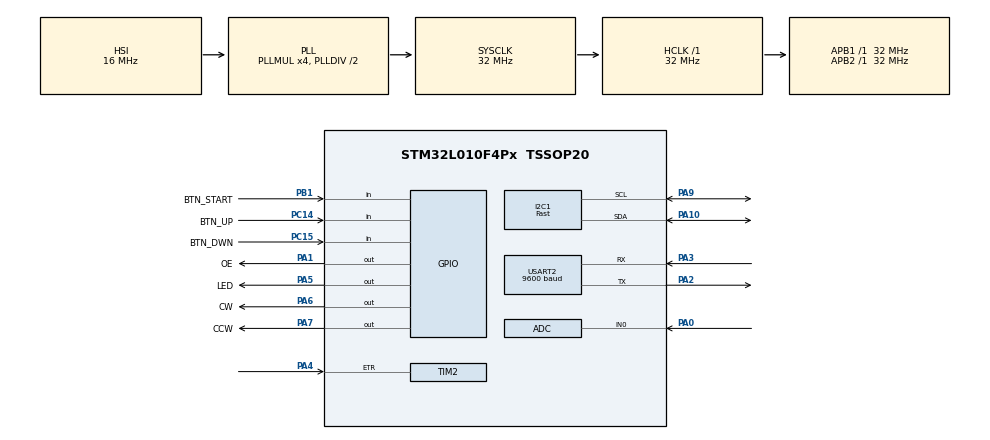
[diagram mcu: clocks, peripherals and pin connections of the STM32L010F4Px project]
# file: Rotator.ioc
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ADC.SamplingTime=ADC_SAMPLETIME_12CYCLES_5
I2C1.I2C_Speed_Mode=I2C_Fast
I2C1.Timing=0x00300F38
Mcu.Family=STM32L0
Mcu.Name=STM32L010F4Px
Mcu.Package=TSSOP20
NVIC.ADC1_IRQn=true\:0\:0\:false\:false\:true\:true\:true\:true
NVIC.TIM21_IRQn=true\:0\:0\:false\:false\:true\:true\:true\:true
NVIC.TIM2_IRQn=true\:0\:0\:false\:false\:true\:true\:true\:true
NVIC.USART2_IRQn=true\:0\:0\:false\:false\:true\:true\:true\:true
PA0-CK_IN.Mode=IN0
PA0-CK_IN.Signal=ADC_IN0
PA1.GPIO_Label=OE
PA1.PinState=GPIO_PIN_SET
PA1.Signal=GPIO_Output
PA10.GPIO_Pu=GPIO_PULLUP
PA10.Mode=I2C
PA10.Signal=I2C1_SDA
PA13.Mode=Serial_Wire
PA13.Signal=SYS_SWDIO
PA14.Mode=Serial_Wire
PA14.Signal=SYS_SWCLK
PA2.Mode=Asynchronous
PA2.Signal=USART2_TX
PA3.Mode=Asynchronous
PA3.Signal=USART2_RX
PA4.Signal=S_TIM2_ETR
PA5.GPIO_Label=LED
PA5.Signal=GPIO_Output
PA6.GPIO_Label=CW
PA6.Signal=GPIO_Output
PA7.GPIO_Label=CCW
PA7.Signal=GPIO_Output
PA9.GPIO_Pu=GPIO_PULLUP
PA9.Mode=I2C
PA9.Signal=I2C1_SCL
PB1.GPIO_Label=BTN_START
PB1.GPIO_PuPd=GPIO_PULLUP
PB1.Signal=GPIO_Input
PC14-OSC32_IN.GPIO_Label=BTN_UP
PC14-OSC32_IN.GPIO_PuPd=GPIO_PULLUP
PC14-OSC32_IN.Signal=GPIO_Input
PC15-OSC32_OUT.GPIO_Label=BTN_DWN
PC15-OSC32_OUT.GPIO_PuPd=GPIO_PULLUP
PC15-OSC32_OUT.Signal=GPIO_Input
ProjectManager.HeapSize=0x200
ProjectManager.StackSize=0x400
ProjectManager.TargetToolchain=STM32CubeIDE
RCC.AHBFreq_Value=32000000
RCC.APB1Freq_Value=32000000
RCC.APB1TimFreq_Value=32000000
RCC.APB2Freq_Value=32000000
RCC.APB2TimFreq_Value=32000000
RCC.HCLKFreq_Value=32000000
RCC.HSE_VALUE=8000000
RCC.HSI16_VALUE=16000000
RCC.HSI_VALUE=16000000
RCC.LSE_VALUE=32768
RCC.MSI_VALUE=2097000
RCC.PLLMUL=RCC_PLLMUL_4
RCC.SYSCLKFreq_VALUE=32000000
RCC.SYSCLKSource=RCC_SYSCLKSOURCE_PLLCLK
RCC.VCOOutputFreq_Value=64000000
SH.S_TIM2_ETR.0=TIM2_ETR,ClockSourceETR_Mode2
TIM2.AutoReloadPreload=TIM_AUTORELOAD_PRELOAD_ENABLE
TIM2.ClockDivision=TIM_CLOCKDIVISION_DIV2
TIM2.ClockFilter=14
TIM2.ClockPolarity=TIM_CLOCKPOLARITY_INVERTED
TIM2.Period=1
TIM21.AutoReloadPreload=TIM_AUTORELOAD_PRELOAD_ENABLE
TIM21.Period=499
TIM21.Prescaler=31999
USART2.BaudRate=9600
USART2.DMADisableonRxErrorParam=ADVFEATURE_DMA_DISABLEONRXERROR
USART2.OverSampling=UART_OVERSAMPLING_8
USART2.OverrunDisableParam=ADVFEATURE_OVERRUN_DISABLE
USART2.VirtualMode=VM_ASYNC
VP_TIM21_VS_ClockSourceINT.Mode=Internal
board=custom

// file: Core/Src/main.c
/* USER CODE BEGIN Header */
/**
  ******************************************************************************
  * @file           : main.c
  * @brief          : Main program body
  ******************************************************************************
  * @attention
  *
  * <h2><center>&copy; Copyright (c) 2021 STMicroelectronics.
  * All rights reserved.</center></h2>
  *
  * This software component is licensed by ST under BSD 3-Clause license,
  * the "License"; You may not use this file except in compliance with the
  * License. You may obtain a copy of the License at:
  *                        opensource.org/licenses/BSD-3-Clause
  *
  ******************************************************************************
  */
/* USER CODE END Header */
#include "main.h"

/* USER CODE BEGIN Includes */
#include "hd44780.h"

uint8_t flag_key1_press = 1;
uint32_t time_key1_press = 0;
uint8_t flag_key2_press = 1;
uint32_t time_key2_press = 0;
uint8_t flag_key3_press = 1;
uint32_t time_key3_press = 0;
uint16_t adc_value = 0;
uint8_t flag_adc = 0;
uint8_t flag_eeprom = 0;

uint32_t imp_count;
uint32_t gradus;
signed int dir_gradus;
uint8_t isPushCW;
uint32_t man_azimuth;
signed int dir_azimuth;
uint32_t time_on_cw;
uint32_t time_on_ccw;
char str_rx[10];
char str_tx[10];
uint8_t flag_stop;
uint8_t flag_status;
uint8_t flag_move;

void ShowStartAzimuth();
void ReadCWButton();
void ReadCCWButton();
void ReadStartButton();
void WriteToEEPROM (uint32_t address, uint32_t value);
uint32_t ReadFromEEPROM (uint32_t address);
void SaveSettings();
void USART2_Send (char chr);
void USART2_Send_String (char* str);
void ConvertGradusToChar (uint32_t grad);
void CheckUSART();
void RotateFromUSART(uint32_t grad);
uint32_t ConvertCharToGradus ();
void CheckADC();
void ShowWarning();
void SetDefault();

/* USER CODE END Includes */

I2C_HandleTypeDef hi2c1;

void SystemClock_Config(void);
static void MX_GPIO_Init(void);
static void MX_I2C1_Init(void);
static void MX_TIM21_Init(void);
static void MX_USART2_UART_Init(void);
static void MX_TIM2_Init(void);
static void MX_ADC_Init(void);

/* USER CODE BEGIN 0 */

void SetDefault(){
	while (HAL_GPIO_ReadPin(BTN_START_GPIO_Port, BTN_START_Pin) == GPIO_PIN_RESET){
		lcdClrScr();
		lcdGoto(LCD_1st_LINE, 3);
		lcdPuts("GO TO ZERO");
		lcdGoto(LCD_2nd_LINE, 16);
		LL_mDelay(300);
	}
	gradus = man_azimuth = 0;
	WriteToEEPROM(EEPROM_ADDRESS_START, gradus);
    WriteToEEPROM(EEPROM_ADDRESS_START+sizeof(gradus), man_azimuth);
}

void ShowWarning() {
	lcdClrScr();
	lcdGoto(LCD_1st_LINE, 1);
	lcdPuts("TURN ON 12VDC!!");
	lcdGoto(LCD_2nd_LINE, 16);
}

void CheckADC()
{
	LL_ADC_Enable(ADC1);
    LL_ADC_REG_StartConversion(ADC1);
    LL_mDelay(1);
    adc_value = LL_ADC_REG_ReadConversionData12(ADC1);
    if ((adc_value < 3500)&&(flag_adc == 0)) {
    	if (flag_eeprom==1){
    		//SaveSettings();
    		flag_eeprom=0;
    	}
    	flag_adc = 1;
    	ShowWarning();
    }
    if ((adc_value > 3500)&&(flag_adc == 1)) {
    	ShowStartAzimuth();
    	flag_adc = 0;
    }
}

void RotateFromUSART(uint32_t grad)
 {
	man_azimuth = grad;
	if (man_azimuth >= 180) dir_azimuth = man_azimuth - 360; else dir_azimuth = man_azimuth;
    if (gradus >= 180) dir_gradus = gradus - 360; else dir_gradus = gradus;
    lcdGoto(LCD_2nd_LINE,13);
    lcdPuts("   ");
    lcdGoto(LCD_2nd_LINE,13);
    lcdItos(man_azimuth);
    lcdGoto(LCD_2nd_LINE,16);
	LL_TIM_ClearFlag_UPDATE(TIM2);
	LL_TIM_EnableCounter(TIM2);
	LL_TIM_EnableIT_UPDATE(TIM2);
	if (dir_azimuth > dir_gradus) {
		time_on_cw = HAL_GetTick();
		while (dir_gradus < dir_azimuth) {
			lcdGoto(LCD_1st_LINE, 13);
			lcdPuts("   ");
			lcdGoto(LCD_1st_LINE, 13);
			lcdItos(gradus);
			lcdGoto(LCD_1st_LINE, 16);
			LL_GPIO_ResetOutputPin(OE_GPIO_Port, OE_Pin);
			LL_GPIO_SetOutputPin(CW_GPIO_Port, CW_Pin);
			LL_mDelay(50);
			if ((HAL_GetTick() - time_on_cw) > 10000)
				break;
			if (flag_stop==1) {flag_stop =0; break;}
		}
		LL_GPIO_SetOutputPin(OE_GPIO_Port, OE_Pin);
		LL_GPIO_ResetOutputPin(CW_GPIO_Port, CW_Pin);
		LL_TIM_DisableCounter(TIM2);
		LL_TIM_DisableIT_UPDATE(TIM2);

	} else {
		time_on_ccw = HAL_GetTick();
		while (dir_gradus > dir_azimuth) {
			lcdGoto(LCD_1st_LINE, 13);
			lcdPuts("   ");
			lcdGoto(LCD_1st_LINE, 13);
			lcdItos(gradus);
			lcdGoto(LCD_1st_LINE, 16);
			LL_GPIO_ResetOutputPin(OE_GPIO_Port, OE_Pin);
			LL_GPIO_SetOutputPin(CCW_GPIO_Port, CCW_Pin);
			LL_mDelay(50);
			if ((HAL_GetTick() - time_on_ccw) > 10000)
				break;
			if (flag_stop==1) {flag_stop =0; break;}
		}
		LL_GPIO_SetOutputPin(OE_GPIO_Port, OE_Pin);
		LL_GPIO_ResetOutputPin(CCW_GPIO_Port, CCW_Pin);
		LL_TIM_DisableCounter(TIM2);
		LL_TIM_DisableIT_UPDATE(TIM2);
	}
	SaveSettings();
	lcdGoto(LCD_1st_LINE, 13);
	lcdPuts("   ");
	lcdGoto(LCD_1st_LINE, 13);
	lcdItos(gradus);
	lcdGoto(LCD_1st_LINE, 16);
	ConvertGradusToChar(gradus);

}

uint32_t ConvertCharToGradus() {
    uint32_t rezult = (str_rx[1] - '0') * 100 +
                      (str_rx[2] - '0') * 10 +
                      (str_rx[3] - '0');

    memset(str_rx, 0, 6);

    return rezult - (rezult % 3);
}

void CheckUSART()
{
    if (flag_status)
    {
        flag_status = 0;
        ConvertGradusToChar(gradus);
        memset(str_rx, 0, 6);
        USART2_Send_String(str_tx);
    }

    if (flag_move)
    {
        flag_move = 0;
        RotateFromUSART(ConvertCharToGradus());
    }
}

void ConvertGradusToChar(uint32_t grad) {
    uint8_t hund = grad / 100;
    uint8_t dec = (grad % 100) / 10;
    uint8_t one = grad % 10;

    sprintf(str_tx, "+0%d%d%d\r\n", hund, dec, one);
}

void USART2_Send (char chr){
	while (!(USART2->ISR & USART_ISR_TC));
	USART2->TDR = chr;
}

void USART2_Send_String (char* str){
	uint8_t i = 0;
	while(str[i])
	USART2_Send (str[i++]);
}

void SaveSettings()
{
	WriteToEEPROM(EEPROM_ADDRESS_START, gradus);
	WriteToEEPROM(EEPROM_ADDRESS_START+sizeof(gradus), man_azimuth);
}

void ShowStartAzimuth ()
{
	lcdClrScr();
	lcdGoto(LCD_1st_LINE,1);
	lcdPuts("CUR AZIMUTH");
	lcdGoto(LCD_1st_LINE,13);
	lcdItos(ReadFromEEPROM(EEPROM_ADDRESS_START));
	lcdGoto(LCD_2nd_LINE,1);
	lcdPuts("ANT AZIMUTH");
	lcdGoto(LCD_2nd_LINE,13);
	lcdItos(ReadFromEEPROM(EEPROM_ADDRESS_START+sizeof(gradus)));
	lcdGoto(LCD_2nd_LINE,16);
}

void ReadCWButton() {
	if (HAL_GPIO_ReadPin(BTN_UP_GPIO_Port, BTN_UP_Pin) == GPIO_PIN_RESET
			&& flag_key1_press) {
		flag_key1_press = 0;
		if (man_azimuth==(360-step)) man_azimuth=0;
		man_azimuth=man_azimuth+step;
		isPushCW = 1;
		LL_GPIO_ResetOutputPin(CW_GPIO_Port, CW_Pin);
		lcdGoto(LCD_2nd_LINE,13);
		lcdPuts("   ");
		lcdGoto(LCD_2nd_LINE,13);
	    lcdItos(man_azimuth);
	    lcdGoto(LCD_2nd_LINE,16);
		time_key1_press = HAL_GetTick();
	}

	if (!flag_key1_press && (HAL_GetTick() - time_key1_press) > 200) {
		flag_key1_press = 1;
	}
}
void ReadCCWButton() {
	if (HAL_GPIO_ReadPin(BTN_DWN_GPIO_Port, BTN_DWN_Pin) == GPIO_PIN_RESET
			&& flag_key2_press) {
		flag_key2_press = 0;
		if (man_azimuth==0) man_azimuth=360-step;
		man_azimuth=man_azimuth-step;
		isPushCW = 0;
		LL_GPIO_SetOutputPin(OE_GPIO_Port, OE_Pin);
		lcdGoto(LCD_2nd_LINE,13);
		lcdPuts("   ");
		lcdGoto(LCD_2nd_LINE,13);
	    lcdItos(man_azimuth);
	    lcdGoto(LCD_2nd_LINE,16);
		time_key2_press = HAL_GetTick();
	}

	if (!flag_key2_press && (HAL_GetTick() - time_key2_press) > 200) {
		flag_key2_press = 1;
	}
}

void UpdateLCDDisplay(uint32_t value) {
    lcdGoto(LCD_1st_LINE, 13);
    lcdPuts("   ");
    lcdGoto(LCD_1st_LINE, 13);
    lcdItos(value);
    lcdGoto(LCD_1st_LINE, 16);
}

void ReadStartButton() {
    const uint32_t current_tick = HAL_GetTick();
    if (!flag_key3_press && (current_tick - time_key3_press) > 200) {
        flag_key3_press = 1;
    }
    if (HAL_GPIO_ReadPin(BTN_START_GPIO_Port, BTN_START_Pin) == GPIO_PIN_RESET && flag_key3_press) {
        flag_key3_press = 0;
        time_key3_press = current_tick;
        LL_TIM_ClearFlag_UPDATE(TIM2);
        LL_TIM_EnableCounter(TIM2);
        LL_TIM_EnableIT_UPDATE(TIM2);
        GPIO_TypeDef* dir_port = (dir_azimuth > dir_gradus) ? CW_GPIO_Port : CCW_GPIO_Port;
        uint32_t dir_pin = (dir_azimuth > dir_gradus) ? CW_Pin : CCW_Pin;
        uint32_t* time_var = (dir_azimuth > dir_gradus) ? &time_on_cw : &time_on_ccw;
        *time_var = current_tick;
        while ((dir_azimuth > dir_gradus) ? (dir_gradus < dir_azimuth) : (dir_gradus > dir_azimuth)) {
            UpdateLCDDisplay(gradus);
            LL_GPIO_ResetOutputPin(OE_GPIO_Port, OE_Pin);
            LL_GPIO_SetOutputPin(dir_port, dir_pin);
            LL_mDelay(50);
            if ((HAL_GetTick() - *time_var) > 10000) break;
        }
        LL_GPIO_SetOutputPin(OE_GPIO_Port, OE_Pin);
        LL_GPIO_ResetOutputPin(dir_port, dir_pin);
        LL_TIM_DisableCounter(TIM2);
        LL_TIM_DisableIT_UPDATE(TIM2);
        SaveSettings();
        UpdateLCDDisplay(gradus);
        ConvertGradusToChar(gradus);
    }
}

void WriteToEEPROM (uint32_t address, uint32_t value)
{
  HAL_StatusTypeDef flash_ok = HAL_ERROR;
  while (flash_ok != HAL_OK)
  {
    flash_ok = HAL_FLASHEx_DATAEEPROM_Unlock();
  }
  flash_ok = HAL_ERROR;
  while (flash_ok != HAL_OK)
  {
    flash_ok = HAL_FLASHEx_DATAEEPROM_Erase (address);
  }
  flash_ok = HAL_ERROR;
  while (flash_ok != HAL_OK)
  {
    flash_ok = HAL_FLASHEx_DATAEEPROM_Program (FLASH_TYPEPROGRAMDATA_WORD, address, value);
  }
  flash_ok = HAL_ERROR;
  while (flash_ok != HAL_OK)
  {
    flash_ok = HAL_FLASHEx_DATAEEPROM_Lock ();
  }
}

uint32_t ReadFromEEPROM (uint32_t address)
{
  return (*(__IO uint32_t *)address);
}
/* USER CODE END 0 */

int main(void)
{

  /* MCU Configuration--------------------------------------------------------*/

  /* Reset of all peripherals, Initializes the Flash interface and the Systick. */
  HAL_Init();

  /* Configure the system clock */
  SystemClock_Config();

  /* Initialize all configured peripherals */
  MX_GPIO_Init();
  MX_I2C1_Init();
  MX_TIM21_Init();
  MX_USART2_UART_Init();
  MX_TIM2_Init();
  MX_ADC_Init();
  /* USER CODE BEGIN 2 */

  //LL_mDelay(10);
  //volatile uint32_t SystemFreq = HAL_RCC_GetHCLKFreq();
  //lcdSetMode(VIEW_MODE_DispOn_BlkOff_CrsOff);
  lcdInit();
  lcdBackLightOn();
  lcdClrScr();

  LL_TIM_EnableCounter(TIM21);
  LL_TIM_EnableIT_UPDATE(TIM21);
  LL_USART_Enable(USART2);
  LL_USART_EnableIT_RXNE(USART2);

  imp_count = 0;
  isPushCW = 2;
  dir_azimuth = 0;
  dir_gradus = 0;
  time_on_cw = 0;
  time_on_ccw = 0;
  flag_stop = 0;
  flag_status = 0;
  flag_move=0;
  if (HAL_GPIO_ReadPin(BTN_START_GPIO_Port, BTN_START_Pin) == GPIO_PIN_RESET){
	  SetDefault();
  }
  LL_mDelay(5);
  gradus = ReadFromEEPROM(EEPROM_ADDRESS_START);
  man_azimuth = ReadFromEEPROM(EEPROM_ADDRESS_START + sizeof(man_azimuth));
  imp_count = gradus/step;
  ShowStartAzimuth ();
  str_rx[0] = 0;
  str_rx[1] = 0;
  str_rx[2] = 0;
  str_rx[3] = 0;
  str_rx[4] = 0;
  str_rx[5] = 0;
   LL_ADC_StartCalibration(ADC1);
   LL_mDelay(5);
   CheckADC();

  /* USER CODE END 2 */

  /* Infinite loop */
  /* USER CODE BEGIN WHILE */
	while (1) {
		CheckADC();
		if (flag_adc == 0) {
			flag_eeprom=1;
			if (man_azimuth >= 180)
				dir_azimuth = man_azimuth - 360;
			else
				dir_azimuth = man_azimuth;
			if (gradus >= 180)
				dir_gradus = gradus - 360;
			else
				dir_gradus = gradus;
			ReadCWButton();
			ReadCCWButton();
			ReadStartButton();
			CheckUSART();
		}
		LL_mDelay(10);

    /* USER CODE END WHILE */

	}
}

void SystemClock_Config(void)
{
  RCC_OscInitTypeDef RCC_OscInitStruct = {0};
  RCC_ClkInitTypeDef RCC_ClkInitStruct = {0};
  RCC_PeriphCLKInitTypeDef PeriphClkInit = {0};

  /** Configure the main internal regulator output voltage
  */
  __HAL_PWR_VOLTAGESCALING_CONFIG(PWR_REGULATOR_VOLTAGE_SCALE1);

  /** Initializes the RCC Oscillators according to the specified parameters
  * in the RCC_OscInitTypeDef structure.
  */
  RCC_OscInitStruct.OscillatorType = RCC_OSCILLATORTYPE_HSI|RCC_OSCILLATORTYPE_LSE;
  RCC_OscInitStruct.LSEState = RCC_LSE_OFF;
  RCC_OscInitStruct.HSIState = RCC_HSI_ON;
  RCC_OscInitStruct.HSICalibrationValue = RCC_HSICALIBRATION_DEFAULT;
  RCC_OscInitStruct.PLL.PLLState = RCC_PLL_ON;
  RCC_OscInitStruct.PLL.PLLSource = RCC_PLLSOURCE_HSI;
  RCC_OscInitStruct.PLL.PLLMUL = RCC_PLLMUL_4;
  RCC_OscInitStruct.PLL.PLLDIV = RCC_PLLDIV_2;
  if (HAL_RCC_OscConfig(&RCC_OscInitStruct) != HAL_OK)
  {
    Error_Handler();
  }

  /** Initializes the CPU, AHB and APB buses clocks
  */
  RCC_ClkInitStruct.ClockType = RCC_CLOCKTYPE_HCLK|RCC_CLOCKTYPE_SYSCLK
                              |RCC_CLOCKTYPE_PCLK1|RCC_CLOCKTYPE_PCLK2;
  RCC_ClkInitStruct.SYSCLKSource = RCC_SYSCLKSOURCE_PLLCLK;
  RCC_ClkInitStruct.AHBCLKDivider = RCC_SYSCLK_DIV1;
  RCC_ClkInitStruct.APB1CLKDivider = RCC_HCLK_DIV1;
  RCC_ClkInitStruct.APB2CLKDivider = RCC_HCLK_DIV1;

  if (HAL_RCC_ClockConfig(&RCC_ClkInitStruct, FLASH_LATENCY_1) != HAL_OK)
  {
    Error_Handler();
  }
  PeriphClkInit.PeriphClockSelection = RCC_PERIPHCLK_USART2|RCC_PERIPHCLK_I2C1;
  PeriphClkInit.Usart2ClockSelection = RCC_USART2CLKSOURCE_PCLK1;
  PeriphClkInit.I2c1ClockSelection = RCC_I2C1CLKSOURCE_PCLK1;
  if (HAL_RCCEx_PeriphCLKConfig(&PeriphClkInit) != HAL_OK)
  {
    Error_Handler();
  }
}

static void MX_ADC_Init(void)
{

  LL_ADC_REG_InitTypeDef ADC_REG_InitStruct = {0};
  LL_ADC_InitTypeDef ADC_InitStruct = {0};

  LL_GPIO_InitTypeDef GPIO_InitStruct = {0};

  /* Peripheral clock enable */
  LL_APB2_GRP1_EnableClock(LL_APB2_GRP1_PERIPH_ADC1);

  LL_IOP_GRP1_EnableClock(LL_IOP_GRP1_PERIPH_GPIOA);
  /**ADC GPIO Configuration
  PA0-CK_IN   ------> ADC_IN0
  */
  GPIO_InitStruct.Pin = LL_GPIO_PIN_0;
  GPIO_InitStruct.Mode = LL_GPIO_MODE_ANALOG;
  GPIO_InitStruct.Pull = LL_GPIO_PULL_NO;
  LL_GPIO_Init(GPIOA, &GPIO_InitStruct);

  /* ADC interrupt Init */
  NVIC_SetPriority(ADC1_IRQn, 0);
  NVIC_EnableIRQ(ADC1_IRQn);

  /** Configure Regular Channel
  */
  LL_ADC_REG_SetSequencerChAdd(ADC1, LL_ADC_CHANNEL_0);

  /** Common config
  */
  ADC_REG_InitStruct.TriggerSource = LL_ADC_REG_TRIG_SOFTWARE;
  ADC_REG_InitStruct.SequencerDiscont = LL_ADC_REG_SEQ_DISCONT_DISABLE;
  ADC_REG_InitStruct.ContinuousMode = LL_ADC_REG_CONV_SINGLE;
  ADC_REG_InitStruct.DMATransfer = LL_ADC_REG_DMA_TRANSFER_NONE;
  ADC_REG_InitStruct.Overrun = LL_ADC_REG_OVR_DATA_PRESERVED;
  LL_ADC_REG_Init(ADC1, &ADC_REG_InitStruct);
  LL_ADC_SetSamplingTimeCommonChannels(ADC1, LL_ADC_SAMPLINGTIME_12CYCLES_5);
  LL_ADC_SetOverSamplingScope(ADC1, LL_ADC_OVS_DISABLE);
  LL_ADC_REG_SetSequencerScanDirection(ADC1, LL_ADC_REG_SEQ_SCAN_DIR_FORWARD);
  LL_ADC_SetCommonFrequencyMode(__LL_ADC_COMMON_INSTANCE(ADC1), LL_ADC_CLOCK_FREQ_MODE_HIGH);
  LL_ADC_DisableIT_EOC(ADC1);
  LL_ADC_DisableIT_EOS(ADC1);
  ADC_InitStruct.Clock = LL_ADC_CLOCK_SYNC_PCLK_DIV2;
  ADC_InitStruct.Resolution = LL_ADC_RESOLUTION_12B;
  ADC_InitStruct.DataAlignment = LL_ADC_DATA_ALIGN_RIGHT;
  ADC_InitStruct.LowPowerMode = LL_ADC_LP_MODE_NONE;
  LL_ADC_Init(ADC1, &ADC_InitStruct);

  /* Enable ADC internal voltage regulator */
  LL_ADC_EnableInternalRegulator(ADC1);
  /* Delay for ADC internal voltage regulator stabilization. */
  /* Compute number of CPU cycles to wait for, from delay in us. */
  /* Note: Variable divided by 2 to compensate partially */
  /* CPU processing cycles (depends on compilation optimization). */
  /* Note: If system core clock frequency is below 200kHz, wait time */
  /* is only a few CPU processing cycles. */
  uint32_t wait_loop_index;
  wait_loop_index = ((LL_ADC_DELAY_INTERNAL_REGUL_STAB_US * (SystemCoreClock / (100000 * 2))) / 10);
  while(wait_loop_index != 0)
  {
    wait_loop_index--;
  }

}

static void MX_I2C1_Init(void)
{

  hi2c1.Instance = I2C1;
  hi2c1.Init.Timing = 0x00300F38;
  hi2c1.Init.OwnAddress1 = 0;
  hi2c1.Init.AddressingMode = I2C_ADDRESSINGMODE_7BIT;
  hi2c1.Init.DualAddressMode = I2C_DUALADDRESS_DISABLE;
  hi2c1.Init.OwnAddress2 = 0;
  hi2c1.Init.OwnAddress2Masks = I2C_OA2_NOMASK;
  hi2c1.Init.GeneralCallMode = I2C_GENERALCALL_DISABLE;
  hi2c1.Init.NoStretchMode = I2C_NOSTRETCH_DISABLE;
  if (HAL_I2C_Init(&hi2c1) != HAL_OK)
  {
    Error_Handler();
  }

  /** Configure Analogue filter
  */
  if (HAL_I2CEx_ConfigAnalogFilter(&hi2c1, I2C_ANALOGFILTER_ENABLE) != HAL_OK)
  {
    Error_Handler();
  }

  /** Configure Digital filter
  */
  if (HAL_I2CEx_ConfigDigitalFilter(&hi2c1, 0) != HAL_OK)
  {
    Error_Handler();
  }

}

static void MX_TIM2_Init(void)
{

  LL_TIM_InitTypeDef TIM_InitStruct = {0};

  LL_GPIO_InitTypeDef GPIO_InitStruct = {0};

  /* Peripheral clock enable */
  LL_APB1_GRP1_EnableClock(LL_APB1_GRP1_PERIPH_TIM2);

  LL_IOP_GRP1_EnableClock(LL_IOP_GRP1_PERIPH_GPIOA);
  /**TIM2 GPIO Configuration
  PA4   ------> TIM2_ETR
  */
  GPIO_InitStruct.Pin = LL_GPIO_PIN_4;
  GPIO_InitStruct.Mode = LL_GPIO_MODE_ALTERNATE;
  GPIO_InitStruct.Speed = LL_GPIO_SPEED_FREQ_LOW;
  GPIO_InitStruct.OutputType = LL_GPIO_OUTPUT_PUSHPULL;
  GPIO_InitStruct.Pull = LL_GPIO_PULL_NO;
  GPIO_InitStruct.Alternate = LL_GPIO_AF_5;
  LL_GPIO_Init(GPIOA, &GPIO_InitStruct);

  /* TIM2 interrupt Init */
  NVIC_SetPriority(TIM2_IRQn, 0);
  NVIC_EnableIRQ(TIM2_IRQn);

  TIM_InitStruct.Prescaler = 0;
  TIM_InitStruct.CounterMode = LL_TIM_COUNTERMODE_UP;
  TIM_InitStruct.Autoreload = timer_preload;
  TIM_InitStruct.ClockDivision = LL_TIM_CLOCKDIVISION_DIV2;
  LL_TIM_Init(TIM2, &TIM_InitStruct);
  LL_TIM_EnableARRPreload(TIM2);
  LL_TIM_ConfigETR(TIM2, LL_TIM_ETR_POLARITY_INVERTED, LL_TIM_ETR_PRESCALER_DIV1, LL_TIM_ETR_FILTER_FDIV32_N6);
  LL_TIM_SetClockSource(TIM2, LL_TIM_CLOCKSOURCE_EXT_MODE2);
  LL_TIM_SetTriggerOutput(TIM2, LL_TIM_TRGO_RESET);
  LL_TIM_DisableMasterSlaveMode(TIM2);

}

static void MX_TIM21_Init(void)
{

  LL_TIM_InitTypeDef TIM_InitStruct = {0};

  /* Peripheral clock enable */
  LL_APB2_GRP1_EnableClock(LL_APB2_GRP1_PERIPH_TIM21);

  /* TIM21 interrupt Init */
  NVIC_SetPriority(TIM21_IRQn, 0);
  NVIC_EnableIRQ(TIM21_IRQn);

  TIM_InitStruct.Prescaler = 31999;
  TIM_InitStruct.CounterMode = LL_TIM_COUNTERMODE_UP;
  TIM_InitStruct.Autoreload = 499;
  TIM_InitStruct.ClockDivision = LL_TIM_CLOCKDIVISION_DIV1;
  LL_TIM_Init(TIM21, &TIM_InitStruct);
  LL_TIM_EnableARRPreload(TIM21);
  LL_TIM_SetClockSource(TIM21, LL_TIM_CLOCKSOURCE_INTERNAL);
  LL_TIM_SetTriggerOutput(TIM21, LL_TIM_TRGO_RESET);
  LL_TIM_DisableMasterSlaveMode(TIM21);

}

static void MX_USART2_UART_Init(void)
{

  LL_USART_InitTypeDef USART_InitStruct = {0};

  LL_GPIO_InitTypeDef GPIO_InitStruct = {0};

  /* Peripheral clock enable */
  LL_APB1_GRP1_EnableClock(LL_APB1_GRP1_PERIPH_USART2);

  LL_IOP_GRP1_EnableClock(LL_IOP_GRP1_PERIPH_GPIOA);
  /**USART2 GPIO Configuration
  PA2   ------> USART2_TX
  PA3   ------> USART2_RX
  */
  GPIO_InitStruct.Pin = LL_GPIO_PIN_2;
  GPIO_InitStruct.Mode = LL_GPIO_MODE_ALTERNATE;
  GPIO_InitStruct.Speed = LL_GPIO_SPEED_FREQ_VERY_HIGH;
  GPIO_InitStruct.OutputType = LL_GPIO_OUTPUT_PUSHPULL;
  GPIO_InitStruct.Pull = LL_GPIO_PULL_NO;
  GPIO_InitStruct.Alternate = LL_GPIO_AF_4;
  LL_GPIO_Init(GPIOA, &GPIO_InitStruct);

  GPIO_InitStruct.Pin = LL_GPIO_PIN_3;
  GPIO_InitStruct.Mode = LL_GPIO_MODE_ALTERNATE;
  GPIO_InitStruct.Speed = LL_GPIO_SPEED_FREQ_VERY_HIGH;
  GPIO_InitStruct.OutputType = LL_GPIO_OUTPUT_PUSHPULL;
  GPIO_InitStruct.Pull = LL_GPIO_PULL_NO;
  GPIO_InitStruct.Alternate = LL_GPIO_AF_4;
  LL_GPIO_Init(GPIOA, &GPIO_InitStruct);

  /* USART2 interrupt Init */
  NVIC_SetPriority(USART2_IRQn, 0);
  NVIC_EnableIRQ(USART2_IRQn);

  USART_InitStruct.BaudRate = 9600;
  USART_InitStruct.DataWidth = LL_USART_DATAWIDTH_8B;
  USART_InitStruct.StopBits = LL_USART_STOPBITS_1;
  USART_InitStruct.Parity = LL_USART_PARITY_NONE;
  USART_InitStruct.TransferDirection = LL_USART_DIRECTION_TX_RX;
  USART_InitStruct.HardwareFlowControl = LL_USART_HWCONTROL_NONE;
  USART_InitStruct.OverSampling = LL_USART_OVERSAMPLING_8;
  LL_USART_Init(USART2, &USART_InitStruct);
  LL_USART_DisableOverrunDetect(USART2);
  LL_USART_DisableDMADeactOnRxErr(USART2);
  LL_USART_ConfigAsyncMode(USART2);
  LL_USART_Enable(USART2);

}

static void MX_GPIO_Init(void)
{
  LL_GPIO_InitTypeDef GPIO_InitStruct = {0};

  /* GPIO Ports Clock Enable */
  LL_IOP_GRP1_EnableClock(LL_IOP_GRP1_PERIPH_GPIOC);
  LL_IOP_GRP1_EnableClock(LL_IOP_GRP1_PERIPH_GPIOA);
  LL_IOP_GRP1_EnableClock(LL_IOP_GRP1_PERIPH_GPIOB);

  /**/
  LL_GPIO_SetOutputPin(OE_GPIO_Port, OE_Pin);

  /**/
  LL_GPIO_ResetOutputPin(LED_GPIO_Port, LED_Pin);

  /**/
  LL_GPIO_ResetOutputPin(CW_GPIO_Port, CW_Pin);

  /**/
  LL_GPIO_ResetOutputPin(CCW_GPIO_Port, CCW_Pin);

  /**/
  GPIO_InitStruct.Pin = BTN_UP_Pin;
  GPIO_InitStruct.Mode = LL_GPIO_MODE_INPUT;
  GPIO_InitStruct.Pull = LL_GPIO_PULL_UP;
  LL_GPIO_Init(BTN_UP_GPIO_Port, &GPIO_InitStruct);

  /**/
  GPIO_InitStruct.Pin = BTN_DWN_Pin;
  GPIO_InitStruct.Mode = LL_GPIO_MODE_INPUT;
  GPIO_InitStruct.Pull = LL_GPIO_PULL_UP;
  LL_GPIO_Init(BTN_DWN_GPIO_Port, &GPIO_InitStruct);

  /**/
  GPIO_InitStruct.Pin = OE_Pin;
  GPIO_InitStruct.Mode = LL_GPIO_MODE_OUTPUT;
  GPIO_InitStruct.Speed = LL_GPIO_SPEED_FREQ_LOW;
  GPIO_InitStruct.OutputType = LL_GPIO_OUTPUT_PUSHPULL;
  GPIO_InitStruct.Pull = LL_GPIO_PULL_NO;
  LL_GPIO_Init(OE_GPIO_Port, &GPIO_InitStruct);

  /**/
  GPIO_InitStruct.Pin = LED_Pin;
  GPIO_InitStruct.Mode = LL_GPIO_MODE_OUTPUT;
  GPIO_InitStruct.Speed = LL_GPIO_SPEED_FREQ_LOW;
  GPIO_InitStruct.OutputType = LL_GPIO_OUTPUT_PUSHPULL;
  GPIO_InitStruct.Pull = LL_GPIO_PULL_NO;
  LL_GPIO_Init(LED_GPIO_Port, &GPIO_InitStruct);

  /**/
  GPIO_InitStruct.Pin = CW_Pin;
  GPIO_InitStruct.Mode = LL_GPIO_MODE_OUTPUT;
  GPIO_InitStruct.Speed = LL_GPIO_SPEED_FREQ_LOW;
  GPIO_InitStruct.OutputType = LL_GPIO_OUTPUT_PUSHPULL;
  GPIO_InitStruct.Pull = LL_GPIO_PULL_NO;
  LL_GPIO_Init(CW_GPIO_Port, &GPIO_InitStruct);

  /**/
  GPIO_InitStruct.Pin = CCW_Pin;
  GPIO_InitStruct.Mode = LL_GPIO_MODE_OUTPUT;
  GPIO_InitStruct.Speed = LL_GPIO_SPEED_FREQ_LOW;
  GPIO_InitStruct.OutputType = LL_GPIO_OUTPUT_PUSHPULL;
  GPIO_InitStruct.Pull = LL_GPIO_PULL_NO;
  LL_GPIO_Init(CCW_GPIO_Port, &GPIO_InitStruct);

  /**/
  GPIO_InitStruct.Pin = BTN_START_Pin;
  GPIO_InitStruct.Mode = LL_GPIO_MODE_INPUT;
  GPIO_InitStruct.Pull = LL_GPIO_PULL_UP;
  LL_GPIO_Init(BTN_START_GPIO_Port, &GPIO_InitStruct);

}

void Error_Handler(void)
{
  __disable_irq();
  while (1)
  {
  }
}
